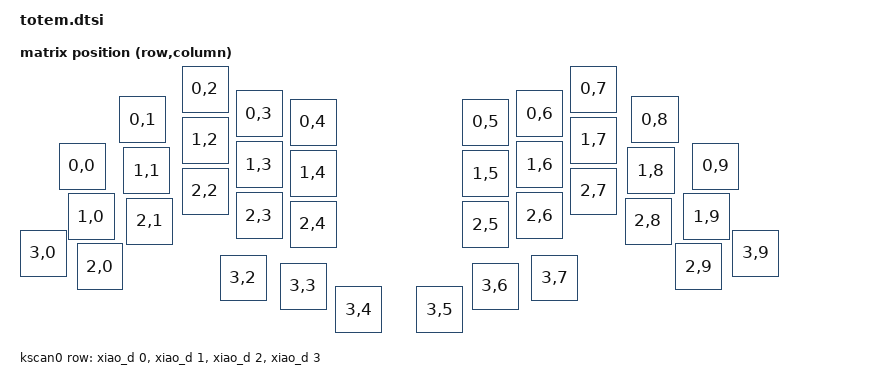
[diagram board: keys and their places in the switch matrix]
/*
 * Copyright (c) 2022 The ZMK Contributors
 *
 * SPDX-License-Identifier: MIT
 */

#include <dt-bindings/zmk/matrix_transform.h>
#include <physical_layouts.dtsi>

/ {
    chosen {
        zmk,kscan = &kscan0;
        zmk,physical-layout = &totem_physical_layout;
    };

    default_transform: keymap_transform_0 {
        compatible = "zmk,matrix-transform";
        columns = <10>;
        rows = <4>;
        map = <
                RC(0,0) RC(0,1) RC(0,2) RC(0,3) RC(0,4)    RC(0,5) RC(0,6) RC(0,7) RC(0,8) RC(0,9)
                RC(1,0) RC(1,1) RC(1,2) RC(1,3) RC(1,4)    RC(1,5) RC(1,6) RC(1,7) RC(1,8) RC(1,9)
        RC(3,0) RC(2,0) RC(2,1) RC(2,2) RC(2,3) RC(2,4)    RC(2,5) RC(2,6) RC(2,7) RC(2,8) RC(2,9) RC(3,9)
                                RC(3,2) RC(3,3) RC(3,4)    RC(3,5) RC(3,6) RC(3,7)         
        >;
    };

    kscan0: kscan_0 {
        compatible = "zmk,kscan-gpio-matrix";
        label = "KSCAN";
        diode-direction = "col2row"; 
        row-gpios
            = <&xiao_d 0 (GPIO_ACTIVE_HIGH | GPIO_PULL_DOWN)>
            , <&xiao_d 1 (GPIO_ACTIVE_HIGH | GPIO_PULL_DOWN)>
            , <&xiao_d 2 (GPIO_ACTIVE_HIGH | GPIO_PULL_DOWN)>
            , <&xiao_d 3 (GPIO_ACTIVE_HIGH | GPIO_PULL_DOWN)>
            ;
    };
    
     totem_physical_layout: totem_physical_layout {
        compatible = "zmk,physical-layout";
        display-name = "TOTEM Layout";
        transform = <&default_transform>;
        kscan = <&kscan0>;
        
        keys
            // Row 0: Q W E R T | Y U I O P
            = <&key_physical_attrs 100 100   266   480   0   0   0>  // Q
            , <&key_physical_attrs 100 100   387   387   0   0   0>  // W
            , <&key_physical_attrs 100 100   512   326   0   0   0>  // E
            , <&key_physical_attrs 100 100   620   375   0   0   0>  // R
            , <&key_physical_attrs 100 100   728   392   0   0   0>  // T
            , <&key_physical_attrs 100 100  1073   392   0   0   0>  // Y (using P's coord)
            , <&key_physical_attrs 100 100  1181   375   0   0   0>  // U (using O's coord)
            , <&key_physical_attrs 100 100  1289   326   0   0   0>  // I (stays)
            , <&key_physical_attrs 100 100  1412   387   0   0   0>  // O (using U's coord)
            , <&key_physical_attrs 100 100  1533   480   0   0   0>  // P (using Y's coord)
            
            // Row 1: A S D F G | H J K L ;
            , <&key_physical_attrs 100 100   284   581   0   0   0>  // A
            , <&key_physical_attrs 100 100   395   489   0   0   0>  // S
            , <&key_physical_attrs 100 100   512   428   0   0   0>  // D
            , <&key_physical_attrs 100 100   620   477   0   0   0>  // F
            , <&key_physical_attrs 100 100   728   494   0   0   0>  // G
            , <&key_physical_attrs 100 100  1073   495   0   0   0>  // H (using ;'s coord)
            , <&key_physical_attrs 100 100  1181   477   0   0   0>  // J (using L's coord)
            , <&key_physical_attrs 100 100  1289   428   0   0   0>  // K (stays)
            , <&key_physical_attrs 100 100  1404   489   0   0   0>  // L (using J's coord)
            , <&key_physical_attrs 100 100  1515   581   0   0   0>  // ; (using H's coord)
            
            // Row 2: [ Z X C V B | N M , . / ]
            , <&key_physical_attrs 100 100   188   654   0   0   0>  // [
            , <&key_physical_attrs 100 100   302   681   0   0   0>  // Z
            , <&key_physical_attrs 100 100   402   590   0   0   0>  // X
            , <&key_physical_attrs 100 100   512   530   0   0   0>  // C
            , <&key_physical_attrs 100 100   620   579   0   0   0>  // V
            , <&key_physical_attrs 100 100   728   596   0   0   0>  // B
            , <&key_physical_attrs 100 100  1073   597   0   0   0>  // N (using ]'s coord)
            , <&key_physical_attrs 100 100  1181   579   0   0   0>  // M (using /'s coord)
            , <&key_physical_attrs 100 100  1289   530   0   0   0>  // , (using .'s coord)
            , <&key_physical_attrs 100 100  1398   590   0   0   0>  // . (using ,'s coord)
            , <&key_physical_attrs 100 100  1499   681   0   0   0>  // / (using M's coord)
            , <&key_physical_attrs 100 100  1613   654   0   0   0>  // ] (using N's coord)
            
            // Row 3: ESC BSPC TAB | ENT SPC LSHFT
            , <&key_physical_attrs 100 100   588   704   0   0   0>  // ESC
            , <&key_physical_attrs 100 100   708   720   0   0   0>  // BSPC
            , <&key_physical_attrs 100 100   819   767   0   0   0>  // TAB
            , <&key_physical_attrs 100 100   981   767   0   0   0>  // ENT (using LSHFT's coord)
            , <&key_physical_attrs 100 100  1092   720   0   0   0>  // SPC (stays)
            , <&key_physical_attrs 100 100  1211   704   0   0   0>  // LSHFT (using ENT's coord)
            ;
    };


/* working version shifted left
    totem_physical_layout: totem_physical_layout {
        compatible = "zmk,physical-layout";
        display-name = "TOTEM Layout";
        transform = <&default_transform>;
        kscan = <&kscan0>;
        
        keys
            = <&key_physical_attrs 100 100    0    0 0 0 0>
            , <&key_physical_attrs 100 100  100    0 0 0 0>
            , <&key_physical_attrs 100 100  200    0 0 0 0>
            , <&key_physical_attrs 100 100  300    0 0 0 0>
            , <&key_physical_attrs 100 100  400    0 0 0 0>
            , <&key_physical_attrs 100 100  600    0 0 0 0>
            , <&key_physical_attrs 100 100  700    0 0 0 0>
            , <&key_physical_attrs 100 100  800    0 0 0 0>
            , <&key_physical_attrs 100 100  900    0 0 0 0>
            , <&key_physical_attrs 100 100 1000    0 0 0 0>
            
            , <&key_physical_attrs 100 100    0  100 0 0 0>
            , <&key_physical_attrs 100 100  100  100 0 0 0>
            , <&key_physical_attrs 100 100  200  100 0 0 0>
            , <&key_physical_attrs 100 100  300  100 0 0 0>
            , <&key_physical_attrs 100 100  400  100 0 0 0>
            , <&key_physical_attrs 100 100  600  100 0 0 0>
            , <&key_physical_attrs 100 100  700  100 0 0 0>
            , <&key_physical_attrs 100 100  800  100 0 0 0>
            , <&key_physical_attrs 100 100  900  100 0 0 0>
            , <&key_physical_attrs 100 100 1000  100 0 0 0>
            
            , <&key_physical_attrs 100 100  (-50)  200 0 0 0>
            , <&key_physical_attrs 100 100   50  200 0 0 0>
            , <&key_physical_attrs 100 100  150  200 0 0 0>
            , <&key_physical_attrs 100 100  250  200 0 0 0>
            , <&key_physical_attrs 100 100  350  200 0 0 0>
            , <&key_physical_attrs 100 100  450  200 0 0 0>
            , <&key_physical_attrs 100 100  650  200 0 0 0>
            , <&key_physical_attrs 100 100  750  200 0 0 0>
            , <&key_physical_attrs 100 100  850  200 0 0 0>
            , <&key_physical_attrs 100 100  950  200 0 0 0>
            , <&key_physical_attrs 100 100 1050  200 0 0 0>
            , <&key_physical_attrs 100 100 1150  200 0 0 0>
            
            , <&key_physical_attrs 100 100  200  300 0 0 0>
            , <&key_physical_attrs 100 100  300  300 0 0 0>
            , <&key_physical_attrs 100 100  400  300 0 0 0>
            , <&key_physical_attrs 100 100  600  300 0 0 0>
            , <&key_physical_attrs 100 100  700  300 0 0 0>
            , <&key_physical_attrs 100 100  800  300 0 0 0>
            ;
    };
*/
/*  working test
    totem_physical_layout: totem_physical_layout {
        compatible = "zmk,physical-layout";
        display-name = "TOTEM Layout";
        transform = <&default_transform>;
        kscan = <&kscan0>;
        
        keys
            = <&key_physical_attrs 100 100 0 0 0 0 0>
            , <&key_physical_attrs 100 100 100 0 0 0 0>
            , <&key_physical_attrs 100 100 200 0 0 0 0>
            ;
    };
*/

/*
    totem_physical_layout: totem_physical_layout {
        compatible = "zmk,physical-layout";
        display-name = "TOTEM";
        transform = <&default_transform>;
        kscan = <&kscan0>;
        
        keys
            = <&key_physical_attrs 105 100   77  151 (-1000)  130  201>
            , <&key_physical_attrs 105 100  196   60  (-400)  249  110>
            , <&key_physical_attrs 105 100  317    0       0    0    0>
            , <&key_physical_attrs 105 100  423   49       0    0    0>
            , <&key_physical_attrs 105 100  529   65       0    0    0>
            , <&key_physical_attrs 105 100  868   65       0    0    0>
            , <&key_physical_attrs 105 100  974   49       0    0    0>
            , <&key_physical_attrs 105 100 1080    0       0    0    0>
            , <&key_physical_attrs 105 100 1200   60     400 1253  110>
            , <&key_physical_attrs 105 100 1319  152    1000 1372  202>
            , <&key_physical_attrs 105 100   95  250 (-1000)  147  300>
            , <&key_physical_attrs 105 100  203  160  (-400)  256  210>
            , <&key_physical_attrs 105 100  317  100       0    0    0>
            , <&key_physical_attrs 105 100  423  149       0    0    0>
            , <&key_physical_attrs 105 100  529  165       0    0    0>
            , <&key_physical_attrs 105 100  868  166       0    0    0>
            , <&key_physical_attrs 105 100  974  149       0    0    0>
            , <&key_physical_attrs 105 100 1080  100       0    0    0>
            , <&key_physical_attrs 105 100 1193  160     400 1246  210>
            , <&key_physical_attrs 105 100 1302  250    1000 1355  300>
            , <&key_physical_attrs 105 100    0  323 (-1000)   52  373>
            , <&key_physical_attrs 105 100  112  348 (-1000)  165  398>
            , <&key_physical_attrs 105 100  210  260  (-400)  263  310>
            , <&key_physical_attrs 105 100  317  200       0    0    0>
            , <&key_physical_attrs 105 100  423  249       0    0    0>
            , <&key_physical_attrs 105 100  529  265       0    0    0>
            , <&key_physical_attrs 105 100  868  266       0    0    0>
            , <&key_physical_attrs 105 100  974  249       0    0    0>
            , <&key_physical_attrs 105 100 1080  200       0    0    0>
            , <&key_physical_attrs 105 100 1186  260     400 1239  310>
            , <&key_physical_attrs 105 100 1285  349    1000 1338  399>
            , <&key_physical_attrs 105 100 1397  323    1000 1450  373>
            , <&key_physical_attrs 105 100  393  371       0    0    0>
            , <&key_physical_attrs 105 100  511  387    1500  563  437>
            , <&key_physical_attrs 105 100  619  432    3000  672  482>
            , <&key_physical_attrs 105 100  778  432 (-3000)  831  482>
            , <&key_physical_attrs 105 100  886  387 (-1500)  939  437>
            , <&key_physical_attrs 105 100 1003  371       0    0    0>
            ;
    };
*/

};
